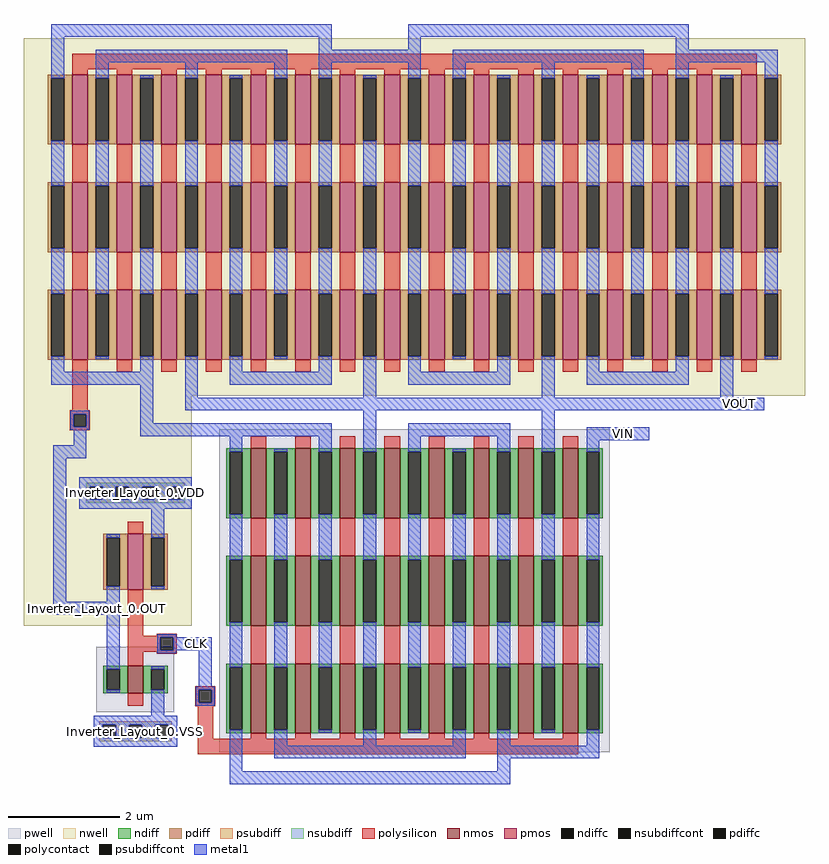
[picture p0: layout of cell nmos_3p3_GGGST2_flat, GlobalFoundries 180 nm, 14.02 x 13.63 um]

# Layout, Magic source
magic
tech gf180mcuC
magscale 1 10
<< nwell >>
rect 61 1398 2865 2680
rect 61 573 664 1398
<< pwell >>
rect 322 263 602 499
rect 763 120 2163 1278
<< nmos >>
rect 875 960 931 1210
rect 1035 960 1091 1210
rect 1195 960 1251 1210
rect 1355 960 1411 1210
rect 1515 960 1571 1210
rect 1675 960 1731 1210
rect 1835 960 1891 1210
rect 1995 960 2051 1210
rect 875 574 931 824
rect 1035 574 1091 824
rect 1195 574 1251 824
rect 1355 574 1411 824
rect 1515 574 1571 824
rect 1675 574 1731 824
rect 1835 574 1891 824
rect 1995 574 2051 824
rect 434 331 490 431
rect 875 188 931 438
rect 1035 188 1091 438
rect 1195 188 1251 438
rect 1355 188 1411 438
rect 1515 188 1571 438
rect 1675 188 1731 438
rect 1835 188 1891 438
rect 1995 188 2051 438
<< pmos >>
rect 235 2300 291 2550
rect 395 2300 451 2550
rect 555 2300 611 2550
rect 715 2300 771 2550
rect 875 2300 931 2550
rect 1035 2300 1091 2550
rect 1195 2300 1251 2550
rect 1355 2300 1411 2550
rect 1515 2300 1571 2550
rect 1675 2300 1731 2550
rect 1835 2300 1891 2550
rect 1995 2300 2051 2550
rect 2155 2300 2211 2550
rect 2315 2300 2371 2550
rect 2475 2300 2531 2550
rect 2635 2300 2691 2550
rect 235 1914 291 2164
rect 395 1914 451 2164
rect 555 1914 611 2164
rect 715 1914 771 2164
rect 875 1914 931 2164
rect 1035 1914 1091 2164
rect 1195 1914 1251 2164
rect 1355 1914 1411 2164
rect 1515 1914 1571 2164
rect 1675 1914 1731 2164
rect 1835 1914 1891 2164
rect 1995 1914 2051 2164
rect 2155 1914 2211 2164
rect 2315 1914 2371 2164
rect 2475 1914 2531 2164
rect 2635 1914 2691 2164
rect 235 1528 291 1778
rect 395 1528 451 1778
rect 555 1528 611 1778
rect 715 1528 771 1778
rect 875 1528 931 1778
rect 1035 1528 1091 1778
rect 1195 1528 1251 1778
rect 1355 1528 1411 1778
rect 1515 1528 1571 1778
rect 1675 1528 1731 1778
rect 1835 1528 1891 1778
rect 1995 1528 2051 1778
rect 2155 1528 2211 1778
rect 2315 1528 2371 1778
rect 2475 1528 2531 1778
rect 2635 1528 2691 1778
rect 434 703 490 903
<< ndiff >>
rect 787 1197 875 1210
rect 787 973 800 1197
rect 846 973 875 1197
rect 787 960 875 973
rect 931 1197 1035 1210
rect 931 973 960 1197
rect 1006 973 1035 1197
rect 931 960 1035 973
rect 1091 1197 1195 1210
rect 1091 973 1120 1197
rect 1166 973 1195 1197
rect 1091 960 1195 973
rect 1251 1197 1355 1210
rect 1251 973 1280 1197
rect 1326 973 1355 1197
rect 1251 960 1355 973
rect 1411 1197 1515 1210
rect 1411 973 1440 1197
rect 1486 973 1515 1197
rect 1411 960 1515 973
rect 1571 1197 1675 1210
rect 1571 973 1600 1197
rect 1646 973 1675 1197
rect 1571 960 1675 973
rect 1731 1197 1835 1210
rect 1731 973 1760 1197
rect 1806 973 1835 1197
rect 1731 960 1835 973
rect 1891 1197 1995 1210
rect 1891 973 1920 1197
rect 1966 973 1995 1197
rect 1891 960 1995 973
rect 2051 1197 2139 1210
rect 2051 973 2080 1197
rect 2126 973 2139 1197
rect 2051 960 2139 973
rect 787 811 875 824
rect 787 587 800 811
rect 846 587 875 811
rect 787 574 875 587
rect 931 811 1035 824
rect 931 587 960 811
rect 1006 587 1035 811
rect 931 574 1035 587
rect 1091 811 1195 824
rect 1091 587 1120 811
rect 1166 587 1195 811
rect 1091 574 1195 587
rect 1251 811 1355 824
rect 1251 587 1280 811
rect 1326 587 1355 811
rect 1251 574 1355 587
rect 1411 811 1515 824
rect 1411 587 1440 811
rect 1486 587 1515 811
rect 1411 574 1515 587
rect 1571 811 1675 824
rect 1571 587 1600 811
rect 1646 587 1675 811
rect 1571 574 1675 587
rect 1731 811 1835 824
rect 1731 587 1760 811
rect 1806 587 1835 811
rect 1731 574 1835 587
rect 1891 811 1995 824
rect 1891 587 1920 811
rect 1966 587 1995 811
rect 1891 574 1995 587
rect 2051 811 2139 824
rect 2051 587 2080 811
rect 2126 587 2139 811
rect 2051 574 2139 587
rect 346 418 434 431
rect 346 344 359 418
rect 405 344 434 418
rect 346 331 434 344
rect 490 418 578 431
rect 490 344 519 418
rect 565 344 578 418
rect 787 425 875 438
rect 490 331 578 344
rect 787 201 800 425
rect 846 201 875 425
rect 787 188 875 201
rect 931 425 1035 438
rect 931 201 960 425
rect 1006 201 1035 425
rect 931 188 1035 201
rect 1091 425 1195 438
rect 1091 201 1120 425
rect 1166 201 1195 425
rect 1091 188 1195 201
rect 1251 425 1355 438
rect 1251 201 1280 425
rect 1326 201 1355 425
rect 1251 188 1355 201
rect 1411 425 1515 438
rect 1411 201 1440 425
rect 1486 201 1515 425
rect 1411 188 1515 201
rect 1571 425 1675 438
rect 1571 201 1600 425
rect 1646 201 1675 425
rect 1571 188 1675 201
rect 1731 425 1835 438
rect 1731 201 1760 425
rect 1806 201 1835 425
rect 1731 188 1835 201
rect 1891 425 1995 438
rect 1891 201 1920 425
rect 1966 201 1995 425
rect 1891 188 1995 201
rect 2051 425 2139 438
rect 2051 201 2080 425
rect 2126 201 2139 425
rect 2051 188 2139 201
<< pdiff >>
rect 147 2537 235 2550
rect 147 2313 160 2537
rect 206 2313 235 2537
rect 147 2300 235 2313
rect 291 2537 395 2550
rect 291 2313 320 2537
rect 366 2313 395 2537
rect 291 2300 395 2313
rect 451 2537 555 2550
rect 451 2313 480 2537
rect 526 2313 555 2537
rect 451 2300 555 2313
rect 611 2537 715 2550
rect 611 2313 640 2537
rect 686 2313 715 2537
rect 611 2300 715 2313
rect 771 2537 875 2550
rect 771 2313 800 2537
rect 846 2313 875 2537
rect 771 2300 875 2313
rect 931 2537 1035 2550
rect 931 2313 960 2537
rect 1006 2313 1035 2537
rect 931 2300 1035 2313
rect 1091 2537 1195 2550
rect 1091 2313 1120 2537
rect 1166 2313 1195 2537
rect 1091 2300 1195 2313
rect 1251 2537 1355 2550
rect 1251 2313 1280 2537
rect 1326 2313 1355 2537
rect 1251 2300 1355 2313
rect 1411 2537 1515 2550
rect 1411 2313 1440 2537
rect 1486 2313 1515 2537
rect 1411 2300 1515 2313
rect 1571 2537 1675 2550
rect 1571 2313 1600 2537
rect 1646 2313 1675 2537
rect 1571 2300 1675 2313
rect 1731 2537 1835 2550
rect 1731 2313 1760 2537
rect 1806 2313 1835 2537
rect 1731 2300 1835 2313
rect 1891 2537 1995 2550
rect 1891 2313 1920 2537
rect 1966 2313 1995 2537
rect 1891 2300 1995 2313
rect 2051 2537 2155 2550
rect 2051 2313 2080 2537
rect 2126 2313 2155 2537
rect 2051 2300 2155 2313
rect 2211 2537 2315 2550
rect 2211 2313 2240 2537
rect 2286 2313 2315 2537
rect 2211 2300 2315 2313
rect 2371 2537 2475 2550
rect 2371 2313 2400 2537
rect 2446 2313 2475 2537
rect 2371 2300 2475 2313
rect 2531 2537 2635 2550
rect 2531 2313 2560 2537
rect 2606 2313 2635 2537
rect 2531 2300 2635 2313
rect 2691 2537 2779 2550
rect 2691 2313 2720 2537
rect 2766 2313 2779 2537
rect 2691 2300 2779 2313
rect 147 2151 235 2164
rect 147 1927 160 2151
rect 206 1927 235 2151
rect 147 1914 235 1927
rect 291 2151 395 2164
rect 291 1927 320 2151
rect 366 1927 395 2151
rect 291 1914 395 1927
rect 451 2151 555 2164
rect 451 1927 480 2151
rect 526 1927 555 2151
rect 451 1914 555 1927
rect 611 2151 715 2164
rect 611 1927 640 2151
rect 686 1927 715 2151
rect 611 1914 715 1927
rect 771 2151 875 2164
rect 771 1927 800 2151
rect 846 1927 875 2151
rect 771 1914 875 1927
rect 931 2151 1035 2164
rect 931 1927 960 2151
rect 1006 1927 1035 2151
rect 931 1914 1035 1927
rect 1091 2151 1195 2164
rect 1091 1927 1120 2151
rect 1166 1927 1195 2151
rect 1091 1914 1195 1927
rect 1251 2151 1355 2164
rect 1251 1927 1280 2151
rect 1326 1927 1355 2151
rect 1251 1914 1355 1927
rect 1411 2151 1515 2164
rect 1411 1927 1440 2151
rect 1486 1927 1515 2151
rect 1411 1914 1515 1927
rect 1571 2151 1675 2164
rect 1571 1927 1600 2151
rect 1646 1927 1675 2151
rect 1571 1914 1675 1927
rect 1731 2151 1835 2164
rect 1731 1927 1760 2151
rect 1806 1927 1835 2151
rect 1731 1914 1835 1927
rect 1891 2151 1995 2164
rect 1891 1927 1920 2151
rect 1966 1927 1995 2151
rect 1891 1914 1995 1927
rect 2051 2151 2155 2164
rect 2051 1927 2080 2151
rect 2126 1927 2155 2151
rect 2051 1914 2155 1927
rect 2211 2151 2315 2164
rect 2211 1927 2240 2151
rect 2286 1927 2315 2151
rect 2211 1914 2315 1927
rect 2371 2151 2475 2164
rect 2371 1927 2400 2151
rect 2446 1927 2475 2151
rect 2371 1914 2475 1927
rect 2531 2151 2635 2164
rect 2531 1927 2560 2151
rect 2606 1927 2635 2151
rect 2531 1914 2635 1927
rect 2691 2151 2779 2164
rect 2691 1927 2720 2151
rect 2766 1927 2779 2151
rect 2691 1914 2779 1927
rect 147 1765 235 1778
rect 147 1541 160 1765
rect 206 1541 235 1765
rect 147 1528 235 1541
rect 291 1765 395 1778
rect 291 1541 320 1765
rect 366 1541 395 1765
rect 291 1528 395 1541
rect 451 1765 555 1778
rect 451 1541 480 1765
rect 526 1541 555 1765
rect 451 1528 555 1541
rect 611 1765 715 1778
rect 611 1541 640 1765
rect 686 1541 715 1765
rect 611 1528 715 1541
rect 771 1765 875 1778
rect 771 1541 800 1765
rect 846 1541 875 1765
rect 771 1528 875 1541
rect 931 1765 1035 1778
rect 931 1541 960 1765
rect 1006 1541 1035 1765
rect 931 1528 1035 1541
rect 1091 1765 1195 1778
rect 1091 1541 1120 1765
rect 1166 1541 1195 1765
rect 1091 1528 1195 1541
rect 1251 1765 1355 1778
rect 1251 1541 1280 1765
rect 1326 1541 1355 1765
rect 1251 1528 1355 1541
rect 1411 1765 1515 1778
rect 1411 1541 1440 1765
rect 1486 1541 1515 1765
rect 1411 1528 1515 1541
rect 1571 1765 1675 1778
rect 1571 1541 1600 1765
rect 1646 1541 1675 1765
rect 1571 1528 1675 1541
rect 1731 1765 1835 1778
rect 1731 1541 1760 1765
rect 1806 1541 1835 1765
rect 1731 1528 1835 1541
rect 1891 1765 1995 1778
rect 1891 1541 1920 1765
rect 1966 1541 1995 1765
rect 1891 1528 1995 1541
rect 2051 1765 2155 1778
rect 2051 1541 2080 1765
rect 2126 1541 2155 1765
rect 2051 1528 2155 1541
rect 2211 1765 2315 1778
rect 2211 1541 2240 1765
rect 2286 1541 2315 1765
rect 2211 1528 2315 1541
rect 2371 1765 2475 1778
rect 2371 1541 2400 1765
rect 2446 1541 2475 1765
rect 2371 1528 2475 1541
rect 2531 1765 2635 1778
rect 2531 1541 2560 1765
rect 2606 1541 2635 1765
rect 2531 1528 2635 1541
rect 2691 1765 2779 1778
rect 2691 1541 2720 1765
rect 2766 1541 2779 1765
rect 2691 1528 2779 1541
rect 346 890 434 903
rect 346 716 359 890
rect 405 716 434 890
rect 346 703 434 716
rect 490 890 578 903
rect 490 716 519 890
rect 565 716 578 890
rect 490 703 578 716
<< ndiffc >>
rect 800 973 846 1197
rect 960 973 1006 1197
rect 1120 973 1166 1197
rect 1280 973 1326 1197
rect 1440 973 1486 1197
rect 1600 973 1646 1197
rect 1760 973 1806 1197
rect 1920 973 1966 1197
rect 2080 973 2126 1197
rect 800 587 846 811
rect 960 587 1006 811
rect 1120 587 1166 811
rect 1280 587 1326 811
rect 1440 587 1486 811
rect 1600 587 1646 811
rect 1760 587 1806 811
rect 1920 587 1966 811
rect 2080 587 2126 811
rect 359 344 405 418
rect 519 344 565 418
rect 800 201 846 425
rect 960 201 1006 425
rect 1120 201 1166 425
rect 1280 201 1326 425
rect 1440 201 1486 425
rect 1600 201 1646 425
rect 1760 201 1806 425
rect 1920 201 1966 425
rect 2080 201 2126 425
<< pdiffc >>
rect 160 2313 206 2537
rect 320 2313 366 2537
rect 480 2313 526 2537
rect 640 2313 686 2537
rect 800 2313 846 2537
rect 960 2313 1006 2537
rect 1120 2313 1166 2537
rect 1280 2313 1326 2537
rect 1440 2313 1486 2537
rect 1600 2313 1646 2537
rect 1760 2313 1806 2537
rect 1920 2313 1966 2537
rect 2080 2313 2126 2537
rect 2240 2313 2286 2537
rect 2400 2313 2446 2537
rect 2560 2313 2606 2537
rect 2720 2313 2766 2537
rect 160 1927 206 2151
rect 320 1927 366 2151
rect 480 1927 526 2151
rect 640 1927 686 2151
rect 800 1927 846 2151
rect 960 1927 1006 2151
rect 1120 1927 1166 2151
rect 1280 1927 1326 2151
rect 1440 1927 1486 2151
rect 1600 1927 1646 2151
rect 1760 1927 1806 2151
rect 1920 1927 1966 2151
rect 2080 1927 2126 2151
rect 2240 1927 2286 2151
rect 2400 1927 2446 2151
rect 2560 1927 2606 2151
rect 2720 1927 2766 2151
rect 160 1541 206 1765
rect 320 1541 366 1765
rect 480 1541 526 1765
rect 640 1541 686 1765
rect 800 1541 846 1765
rect 960 1541 1006 1765
rect 1120 1541 1166 1765
rect 1280 1541 1326 1765
rect 1440 1541 1486 1765
rect 1600 1541 1646 1765
rect 1760 1541 1806 1765
rect 1920 1541 1966 1765
rect 2080 1541 2126 1765
rect 2240 1541 2286 1765
rect 2400 1541 2446 1765
rect 2560 1541 2606 1765
rect 2720 1541 2766 1765
rect 359 716 405 890
rect 519 716 565 890
<< psubdiff >>
rect 332 218 592 231
rect 332 172 345 218
rect 391 172 439 218
rect 485 172 533 218
rect 579 172 592 218
rect 332 159 592 172
<< nsubdiff >>
rect 285 1073 639 1086
rect 285 1027 298 1073
rect 344 1027 392 1073
rect 438 1027 486 1073
rect 532 1027 580 1073
rect 626 1027 639 1073
rect 285 1014 639 1027
<< psubdiffcont >>
rect 345 172 391 218
rect 439 172 485 218
rect 533 172 579 218
<< nsubdiffcont >>
rect 298 1027 344 1073
rect 392 1027 438 1073
rect 486 1027 532 1073
rect 580 1027 626 1073
<< polysilicon >>
rect 235 2570 2691 2626
rect 235 2550 291 2570
rect 395 2550 451 2570
rect 555 2550 611 2570
rect 715 2550 771 2570
rect 875 2550 931 2570
rect 1035 2550 1091 2570
rect 1195 2550 1251 2570
rect 1355 2550 1411 2570
rect 1515 2550 1571 2570
rect 1675 2550 1731 2570
rect 1835 2550 1891 2570
rect 1995 2550 2051 2570
rect 2155 2550 2211 2570
rect 2315 2550 2371 2570
rect 2475 2550 2531 2570
rect 2635 2550 2691 2570
rect 235 2164 291 2300
rect 395 2164 451 2300
rect 555 2164 611 2300
rect 715 2164 771 2300
rect 875 2164 931 2300
rect 1035 2164 1091 2300
rect 1195 2164 1251 2300
rect 1355 2164 1411 2300
rect 1515 2164 1571 2300
rect 1675 2164 1731 2300
rect 1835 2164 1891 2300
rect 1995 2164 2051 2300
rect 2155 2164 2211 2300
rect 2315 2164 2371 2300
rect 2475 2164 2531 2300
rect 2635 2164 2691 2300
rect 235 1778 291 1914
rect 395 1778 451 1914
rect 555 1778 611 1914
rect 715 1778 771 1914
rect 875 1778 931 1914
rect 1035 1778 1091 1914
rect 1195 1778 1251 1914
rect 1355 1778 1411 1914
rect 1515 1778 1571 1914
rect 1675 1778 1731 1914
rect 1835 1778 1891 1914
rect 1995 1778 2051 1914
rect 2155 1778 2211 1914
rect 2315 1778 2371 1914
rect 2475 1778 2531 1914
rect 2635 1778 2691 1914
rect 235 1346 291 1528
rect 395 1484 451 1528
rect 555 1484 611 1528
rect 715 1484 771 1528
rect 875 1484 931 1528
rect 1035 1484 1091 1528
rect 1195 1484 1251 1528
rect 1355 1484 1411 1528
rect 1515 1484 1571 1528
rect 1675 1484 1731 1528
rect 1835 1484 1891 1528
rect 1995 1484 2051 1528
rect 2155 1484 2211 1528
rect 2315 1484 2371 1528
rect 2475 1484 2531 1528
rect 2635 1484 2691 1528
rect 227 1333 299 1346
rect 227 1287 240 1333
rect 286 1287 299 1333
rect 227 1274 299 1287
rect 875 1210 931 1254
rect 1035 1210 1091 1254
rect 1195 1210 1251 1254
rect 1355 1210 1411 1254
rect 1515 1210 1571 1254
rect 1675 1210 1731 1254
rect 1835 1210 1891 1254
rect 1995 1210 2051 1254
rect 434 903 490 947
rect 875 824 931 960
rect 1035 824 1091 960
rect 1195 824 1251 960
rect 1355 824 1411 960
rect 1515 824 1571 960
rect 1675 824 1731 960
rect 1835 824 1891 960
rect 1995 824 2051 960
rect 434 537 490 703
rect 538 537 610 545
rect 434 532 610 537
rect 434 486 551 532
rect 597 486 610 532
rect 434 481 610 486
rect 434 431 490 481
rect 538 473 610 481
rect 875 438 931 574
rect 1035 438 1091 574
rect 1195 438 1251 574
rect 1355 438 1411 574
rect 1515 438 1571 574
rect 1675 438 1731 574
rect 1835 438 1891 574
rect 1995 438 2051 574
rect 677 344 749 357
rect 434 287 490 331
rect 677 298 690 344
rect 736 298 749 344
rect 677 285 749 298
rect 685 168 741 285
rect 875 168 931 188
rect 1035 168 1091 188
rect 1195 168 1251 188
rect 1355 168 1411 188
rect 1515 168 1571 188
rect 1675 168 1731 188
rect 1835 168 1891 188
rect 1995 168 2051 188
rect 685 112 2051 168
<< polycontact >>
rect 240 1287 286 1333
rect 551 486 597 532
rect 690 298 736 344
<< metal1 >>
rect 160 2686 1166 2732
rect 160 2537 206 2686
rect 1120 2640 1166 2686
rect 1440 2686 2446 2732
rect 1440 2640 1486 2686
rect 2400 2640 2446 2686
rect 160 2151 206 2313
rect 160 1765 206 1927
rect 160 1484 206 1541
rect 320 2594 1006 2640
rect 320 2537 366 2594
rect 320 2151 366 2313
rect 320 1765 366 1927
rect 320 1530 366 1541
rect 480 2537 526 2548
rect 480 2151 526 2313
rect 480 1765 526 1927
rect 480 1484 526 1541
rect 160 1438 526 1484
rect 229 1333 297 1344
rect 229 1287 240 1333
rect 286 1287 297 1333
rect 229 1276 297 1287
rect 480 1300 526 1438
rect 640 2537 686 2594
rect 640 2151 686 2313
rect 640 1765 686 1927
rect 640 1392 686 1541
rect 800 2537 846 2548
rect 800 2151 846 2313
rect 800 1765 846 1927
rect 800 1484 846 1541
rect 960 2537 1006 2594
rect 960 2151 1006 2313
rect 960 1765 1006 1927
rect 960 1530 1006 1541
rect 1120 2594 1486 2640
rect 1120 2537 1166 2594
rect 1120 2151 1166 2313
rect 1120 1765 1166 1927
rect 1120 1484 1166 1541
rect 800 1438 1166 1484
rect 1280 2537 1326 2548
rect 1280 2151 1326 2313
rect 1280 1765 1326 1927
rect 1280 1392 1326 1541
rect 1440 2537 1486 2594
rect 1440 2151 1486 2313
rect 1440 1765 1486 1927
rect 1440 1484 1486 1541
rect 1600 2594 2286 2640
rect 1600 2537 1646 2594
rect 1600 2151 1646 2313
rect 1600 1765 1646 1927
rect 1600 1530 1646 1541
rect 1760 2537 1806 2548
rect 1760 2151 1806 2313
rect 1760 1765 1806 1927
rect 1760 1484 1806 1541
rect 1440 1438 1806 1484
rect 1920 2537 1966 2594
rect 1920 2151 1966 2313
rect 1920 1765 1966 1927
rect 1920 1392 1966 1541
rect 2080 2537 2126 2548
rect 2080 2151 2126 2313
rect 2080 1765 2126 1927
rect 2080 1484 2126 1541
rect 2240 2537 2286 2594
rect 2240 2151 2286 2313
rect 2240 1765 2286 1927
rect 2240 1530 2286 1541
rect 2400 2594 2766 2640
rect 2400 2537 2446 2594
rect 2400 2151 2446 2313
rect 2400 1765 2446 1927
rect 2400 1484 2446 1541
rect 2560 2537 2606 2548
rect 2560 2151 2606 2313
rect 2560 1765 2606 1927
rect 2080 1438 2447 1484
rect 2560 1392 2606 1541
rect 2720 2537 2766 2594
rect 2720 2151 2766 2313
rect 2720 1765 2766 1927
rect 2720 1530 2766 1541
rect 640 1346 2717 1392
rect 240 1221 286 1276
rect 480 1254 1166 1300
rect 168 1175 286 1221
rect 800 1197 846 1254
rect 168 659 214 1175
rect 260 1073 664 1106
rect 260 1027 298 1073
rect 344 1027 392 1073
rect 438 1027 486 1073
rect 532 1027 580 1073
rect 626 1027 664 1073
rect 260 994 664 1027
rect 359 890 405 901
rect 359 659 405 716
rect 519 890 565 994
rect 519 705 565 716
rect 800 811 846 973
rect 168 613 405 659
rect 359 418 405 613
rect 540 532 608 543
rect 540 486 551 532
rect 597 486 736 532
rect 540 475 608 486
rect 359 333 405 344
rect 519 418 565 429
rect 690 355 736 486
rect 800 425 846 587
rect 519 251 565 344
rect 679 344 747 355
rect 679 298 690 344
rect 736 298 747 344
rect 679 287 747 298
rect 312 218 612 251
rect 312 172 345 218
rect 391 172 439 218
rect 485 172 533 218
rect 579 172 612 218
rect 312 139 612 172
rect 800 52 846 201
rect 960 1197 1006 1208
rect 960 811 1006 973
rect 960 425 1006 587
rect 960 144 1006 201
rect 1120 1197 1166 1254
rect 1120 811 1166 973
rect 1120 425 1166 587
rect 1120 190 1166 201
rect 1280 1197 1326 1346
rect 1280 811 1326 973
rect 1280 425 1326 587
rect 1280 144 1326 201
rect 1440 1254 1806 1300
rect 1440 1197 1486 1254
rect 1440 811 1486 973
rect 1440 425 1486 587
rect 1440 190 1486 201
rect 1600 1197 1646 1208
rect 1600 811 1646 973
rect 1600 425 1646 587
rect 1600 144 1646 201
rect 960 98 1646 144
rect 1760 1197 1806 1254
rect 1760 811 1806 973
rect 1760 425 1806 587
rect 1760 144 1806 201
rect 1920 1197 1966 1346
rect 1920 811 1966 973
rect 1920 425 1966 587
rect 1920 190 1966 201
rect 2080 1239 2305 1285
rect 2080 1197 2126 1239
rect 2080 811 2126 973
rect 2080 425 2126 587
rect 2080 144 2126 201
rect 1760 98 2126 144
rect 1760 52 1806 98
rect 800 6 1806 52
<< labels >>
flabel metal1 2211 1262 2211 1262 0 FreeSans 320 0 0 0 VIN
port 5 nsew
flabel metal1 2628 1369 2628 1369 0 FreeSans 320 0 0 0 VOUT
port 7 nsew
flabel metal1 682 509 682 509 0 FreeSans 320 0 0 0 CLK
port 2 nsew
flabel psubdiffcont 462 195 462 195 0 FreeSans 320 0 0 0 Inverter_Layout_0.VSS
flabel metal1 462 1053 462 1053 0 FreeSans 320 0 0 0 Inverter_Layout_0.VDD
flabel metal1 642 509 642 509 0 FreeSans 320 0 0 0 Inverter_Layout_0.IN
flabel metal1 323 636 323 636 0 FreeSans 320 0 0 0 Inverter_Layout_0.OUT
<< end >>
